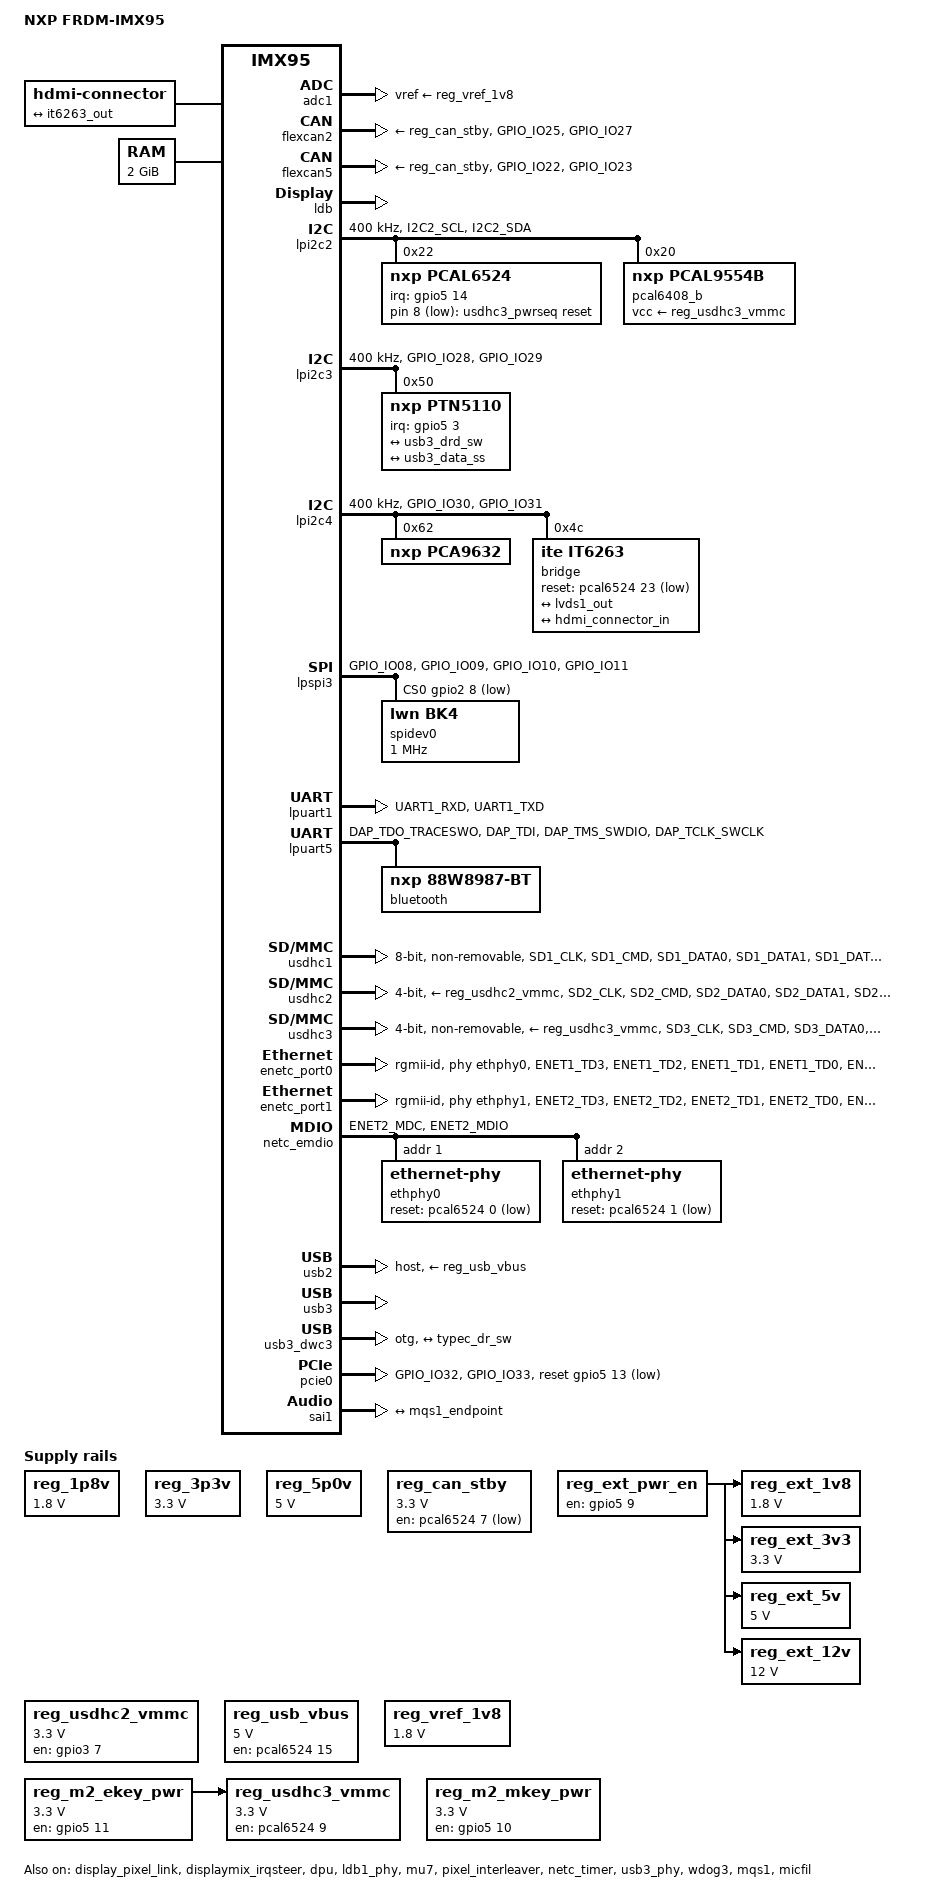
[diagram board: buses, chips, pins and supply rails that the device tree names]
// SPDX-License-Identifier: (GPL-2.0+ OR MIT)
/*
 * Copyright 2025 NXP
 */

/dts-v1/;

#include <dt-bindings/leds/common.h>
#include <dt-bindings/phy/phy-imx8-pcie.h>
#include <dt-bindings/pwm/pwm.h>
#include <dt-bindings/usb/pd.h>
#include "imx95.dtsi"

#define FALLING_EDGE		BIT(0)
#define RISING_EDGE		BIT(1)

#define BRD_SM_CTRL_SD3_WAKE		0x8000	/*!< PCAL6408A-0 */
#define BRD_SM_CTRL_PCIE1_WAKE		0x8001	/*!< PCAL6408A-4 */
#define BRD_SM_CTRL_BT_WAKE		0x8002	/*!< PCAL6408A-5 */
#define BRD_SM_CTRL_PCIE2_WAKE		0x8003	/*!< PCAL6408A-6 */
#define BRD_SM_CTRL_BUTTON		0x8004	/*!< PCAL6408A-7 */

/ {
	model = "NXP FRDM-IMX95";
	compatible = "fsl,frdm-imx95", "fsl,imx95";

	aliases {
		ethernet0 = &enetc_port0;
		ethernet1 = &enetc_port1;
	};

	chosen {
		stdout-path = &lpuart1;
		#address-cells = <2>;
		#size-cells = <2>;
	};

	hdmi-connector {
		compatible = "hdmi-connector";
		label = "hdmi";
		type = "a";

		port {
			hdmi_connector_in: endpoint {
				remote-endpoint = <&it6263_out>;
			};
		};
	};

	memory@80000000 {
		device_type = "memory";
		reg = <0x0 0x80000000 0 0x80000000>;
	};

	reserved-memory {
		#address-cells = <2>;
		#size-cells = <2>;
		ranges;

		linux_cma: linux,cma {
			compatible = "shared-dma-pool";
			reusable;
			size = <0 0x3c000000>;
			alloc-ranges = <0 0x80000000 0 0x7F000000>;
			linux,cma-default;
		};

		vpu_boot: vpu_boot@a0000000 {
			reg = <0 0xa0000000 0 0x100000>;
			no-map;
		};

		vdev0vring0: vdev0vring0@88000000 {
			reg = <0 0x88000000 0 0x8000>;
			no-map;
		};

		vdev0vring1: vdev0vring1@88008000 {
			reg = <0 0x88008000 0 0x8000>;
			no-map;
		};

		vdev1vring0: vdev1vring0@88010000 {
			reg = <0 0x88010000 0 0x8000>;
			no-map;
		};

		vdev1vring1: vdev1vring1@88018000 {
			reg = <0 0x88018000 0 0x8000>;
			no-map;
		};

		rsc_table: rsc-table@88220000 {
			reg = <0 0x88220000 0 0x1000>;
			no-map;
		};

		vdevbuffer: vdevbuffer@88020000 {
			compatible = "shared-dma-pool";
			reg = <0 0x88020000 0 0x100000>;
			no-map;
		};
	};

	reg_1p8v: regulator-1p8v {
		compatible = "regulator-fixed";
		regulator-max-microvolt = <1800000>;
		regulator-min-microvolt = <1800000>;
		regulator-name = "+V1.8_SW";
	};

	reg_3p3v: regulator-3p3v {
		compatible = "regulator-fixed";
		regulator-max-microvolt = <3300000>;
		regulator-min-microvolt = <3300000>;
		regulator-name = "+V3.3_SW";
	};

	reg_5p0v: regulator-5p0v {
		compatible = "regulator-fixed";
		regulator-max-microvolt = <5000000>;
		regulator-min-microvolt = <5000000>;
		regulator-name = "+V5.0_SW";
	};

	reg_can_stby: regulator-can-stby {
		compatible = "regulator-fixed";
		regulator-name = "can-stby";
		regulator-min-microvolt = <3300000>;
		regulator-max-microvolt = <3300000>;
		gpio = <&pcal6524 7 GPIO_ACTIVE_LOW>;
		enable-active-low;
	};

	reg_ext_pwr_en: regulator-1p8v {
		compatible = "regulator-fixed";
		pinctrl-names = "default";
		pinctrl-0 = <&pinctrl_reg_ext_pwr>;
		regulator-name = "ext_pwr_en";
		gpio = <&gpio5 9 GPIO_ACTIVE_HIGH>;
		enable-active-high;
		regulator-always-on;
	};

	reg_ext_1v8: regulator-ext-1v8 {
		compatible = "regulator-fixed";
		regulator-max-microvolt = <1800000>;
		regulator-min-microvolt = <1800000>;
		regulator-name = "VCCEXT_1V8";
		vin-supply = <&reg_ext_pwr_en>;
	};

	reg_ext_3v3: regulator-ext-3v3 {
		compatible = "regulator-fixed";
		regulator-max-microvolt = <3300000>;
		regulator-min-microvolt = <3300000>;
		regulator-name = "VCCEXT_3V3";
		vin-supply = <&reg_ext_pwr_en>;
	};

	reg_ext_5v: regulator-ext-5v {
		compatible = "regulator-fixed";
		regulator-max-microvolt = <5000000>;
		regulator-min-microvolt = <5000000>;
		regulator-name = "VCCEXT_5V";
		vin-supply = <&reg_ext_pwr_en>;
	};

	reg_ext_12v: regulator-ext-12v {
		compatible = "regulator-fixed";
		regulator-name = "VCCEXT_12V";
		regulator-min-microvolt = <12000000>;
		regulator-max-microvolt = <12000000>;
		vin-supply = <&reg_ext_pwr_en>;
	};

	reg_usdhc2_vmmc: regulator-usdhc2 {
		compatible = "regulator-fixed";
		pinctrl-names = "default";
		pinctrl-0 = <&pinctrl_reg_usdhc2_vmmc>;
		regulator-name = "VDD_SD2_3V3";
		regulator-min-microvolt = <3300000>;
		regulator-max-microvolt = <3300000>;
		gpio = <&gpio3 7 GPIO_ACTIVE_HIGH>;
		off-on-delay-us = <12000>;
		enable-active-high;
	};

	reg_usb_vbus: regulator-vbus {
		compatible = "regulator-fixed";
		regulator-name = "USB_VBUS";
		regulator-min-microvolt = <5000000>;
		regulator-max-microvolt = <5000000>;
		gpio = <&pcal6524 15 GPIO_ACTIVE_HIGH>;
		enable-active-high;
	};

	usdhc3_pwrseq: usdhc3_pwrseq {
		compatible = "mmc-pwrseq-simple";
		reset-gpios = <&pcal6524 8 GPIO_ACTIVE_LOW>;
	};

	reg_usdhc3_vmmc: regulator-usdhc3 {
		compatible = "regulator-fixed";
		regulator-name = "WLAN_EN";
		regulator-min-microvolt = <3300000>;
		regulator-max-microvolt = <3300000>;
		vin-supply = <&reg_m2_ekey_pwr>;
		gpio = <&pcal6524 9 GPIO_ACTIVE_HIGH>;
		/*
		 * IW612 wifi chip needs more delay than other wifi chips to complete
		 * the host interface initialization after power up, otherwise the
		 * internal state of IW612 may be unstable, resulting in the failure of
		 * the SDIO3.0 switch voltage.
		 */
		startup-delay-us = <20000>;
		enable-active-high;
	};

	reg_vref_1v8: regulator-adc-vref {
		compatible = "regulator-fixed";
		regulator-name = "vref_1v8";
		regulator-min-microvolt = <1800000>;
		regulator-max-microvolt = <1800000>;
	};

	reg_m2_ekey_pwr: regulator-m2-pwr {
		compatible = "regulator-fixed";
		pinctrl-names = "default";
		pinctrl-0 = <&pinctrl_ekey_pwr>;
		regulator-name = "M.2-power-ekey";
		regulator-min-microvolt = <3300000>;
		regulator-max-microvolt = <3300000>;
		gpio = <&gpio5 11 GPIO_ACTIVE_HIGH>;
		enable-active-high;
	};

	reg_m2_mkey_pwr: regulator-m2-mkey-pwr {
		compatible = "regulator-fixed";
		pinctrl-names = "default";
		pinctrl-0 = <&pinctrl_mkey_pwr>;
		regulator-name = "M.2-power-mkey";
		regulator-min-microvolt = <3300000>;
		regulator-max-microvolt = <3300000>;
		gpio = <&gpio5 10 GPIO_ACTIVE_HIGH>;
		enable-active-high;
		regulator-always-on;
	};

	cm7: imx95-cm7 {
		compatible = "fsl,imx95-cm7";
		mbox-names = "tx", "rx", "rxdb";
		mboxes = <&mu7 0 1
			  &mu7 1 1
			  &mu7 3 1>;
		memory-region = <&vdevbuffer>, <&vdev0vring0>, <&vdev0vring1>,
				<&vdev1vring0>, <&vdev1vring1>, <&rsc_table>;
		/* cpuid and lmmid must align with SM firmware */
		fsl,cpu-id = <1>;
		fsl,lmm-id = <1>;
		fsl,startup-delay-ms = <50>;
		status = "okay";
	};

	sound-micfil {
		compatible = "fsl,imx-audio-card";
		model = "micfil-audio";
		pri-dai-link {
			link-name = "micfil hifi";
			format = "i2s";
			cpu {
				sound-dai = <&micfil>;
			};
		};
	};

	sound-mqs {
		compatible = "audio-graph-card2";
		links = <&sai1_port1>;
		label = "mqs-audio";
	};
};

&adc1 {
	vref-supply = <&reg_vref_1v8>;
	status = "okay";
};

&display_pixel_link {
	status = "okay";
};

&displaymix_irqsteer {
	status = "okay";
};

&dpu {
	status = "okay";
};

&flexcan2 {
	pinctrl-names = "default";
	pinctrl-0 = <&pinctrl_flexcan2>;
	xceiver-supply = <&reg_can_stby>;
	status = "okay";
};

&flexcan5 {
	pinctrl-names = "default";
	pinctrl-0 = <&pinctrl_flexcan5>;
	xceiver-supply = <&reg_can_stby>;
	status = "okay";
};

&ldb {
	assigned-clocks = <&scmi_clk IMX95_CLK_LDBPLL_VCO>,
			  <&scmi_clk IMX95_CLK_LDBPLL>;
	assigned-clock-rates = <4158000000>, <1039500000>;
	status = "okay";

	channel@1 {
		status = "okay";

		port@1 {
			lvds1_out: endpoint {
				remote-endpoint = <&it6263_in>;
			};
		};
	};
};

&ldb1_phy {
	status = "okay";
};

&lpi2c2 {
	clock-frequency = <400000>;
	pinctrl-names = "default";
	pinctrl-0 = <&pinctrl_lpi2c2>;
	status = "okay";

	pcal6524: gpio@22 {
		compatible = "nxp,pcal6524";
		pinctrl-names = "default";
		pinctrl-0 = <&pinctrl_pcal6524>;
		reg = <0x22>;
		gpio-controller;
		#gpio-cells = <2>;
		interrupt-controller;
		#interrupt-cells = <2>;
		interrupt-parent = <&gpio5>;
		interrupts = <14 IRQ_TYPE_LEVEL_LOW>;
		gpio-line-names = "ENET1 PHY reset",
				  "ENET2 PHY reset",
				  "SPI3/GPIO select",
				  "UART3/GPIO select",
				  "CAN2&5/GPIO select",
				  "PWM/GPIO select",
				  "Watch dog enable",
				  "CAN1&2&5 silent or normal select",
				  "Wifi reset",
				  "Wifi power down and IO EXP reset",
				  "Bluetooth reset",
				  "Mkey Power Enable",
				  "",
				  "",
				  "",
				  "USB Power Enable",
				  "MIPI-DSI panel touch reset",
				  "MIPI-DSI and CSI reset",
				  "MIPI-DSI panel backlight enable (Reserved)",
				  "MIPI-CSI camera reset",
				  "LVDS panel touch reset",
				  "LVDS panel backlight enable",
				  "LVDS panel backlight power enable",
				  "LVDS to HDMI converter IT6263 reset";

		/* When low, select lpspi; When high, select gpio. */
		lpspi-gpio-sel-hog {
			gpio-hog;
			gpios = <2 GPIO_ACTIVE_HIGH>;
			output-low;
		};

		/* When low, select lpuart3; When high, select gpio. */
		lpuart-gpio-sel-hog {
			gpio-hog;
			gpios = <3 GPIO_ACTIVE_HIGH>;
			output-low;
		};

		/* When low, select CAN; When high, select gpio. */
		can-gpio-sel-hog {
			gpio-hog;
			gpios = <4 GPIO_ACTIVE_HIGH>;
			output-low;
		};

		/* When low, select pwm; When high, select gpio. */
		pwm-gpio-sel-hog {
			gpio-hog;
			gpios = <5 GPIO_ACTIVE_HIGH>;
			output-low;
		};
	};

	pcal6408_b: gpio@20 {
		compatible = "nxp,pcal9554b";
		reg = <0x20>;
		gpio-controller;
		#gpio-cells = <2>;
		vcc-supply = <&reg_usdhc3_vmmc>;
		status = "okay";
	};
};

&lpi2c3 {
	clock-frequency = <400000>;
	pinctrl-names = "default";
	pinctrl-0 = <&pinctrl_lpi2c3>;
	status = "okay";

	ptn5110: tcpc@50 {
		compatible = "nxp,ptn5110";
		reg = <0x50>;
		interrupt-parent = <&gpio5>;
		interrupts = <3 IRQ_TYPE_LEVEL_LOW>;
		pinctrl-names = "default";
		pinctrl-0 = <&pinctrl_ptn5110>;

		port {
			typec_dr_sw: endpoint {
				remote-endpoint = <&usb3_drd_sw>;
			};
		};

		typec_con: connector {
			compatible = "usb-c-connector";
			label = "USB-C";
			power-role = "dual";
			data-role = "dual";
			try-power-role = "sink";
			source-pdos = <PDO_FIXED(5000, 3000, PDO_FIXED_USB_COMM)>;
			sink-pdos = <PDO_FIXED(5000, 3000, PDO_FIXED_USB_COMM)
				     PDO_VAR(5000, 20000, 3000)>;
			op-sink-microwatt = <15000000>;
			self-powered;

			ports {
				#address-cells = <1>;
				#size-cells = <0>;

				port@1 {
					reg = <1>;
					typec_con_ss: endpoint {
						remote-endpoint = <&usb3_data_ss>;
					};
				};
			};
		};
	};
};

&lpi2c4 {
	clock-frequency = <400000>;
	pinctrl-names = "default";
	pinctrl-0 = <&pinctrl_lpi2c4>;
	status = "okay";

	pca9632: pca9632@62 {
		compatible = "nxp,pca9632";
		#address-cells = <1>;
		#size-cells = <0>;
		reg = <0x62>;
		nxp,inverted-out;

		led_backlight0: led@0 {
			reg = <0>;
			function = LED_FUNCTION_BACKLIGHT;
			color = <LED_COLOR_ID_WHITE>;
			function-enumerator = <0>;
		};

		led_backlight1: led@1 {
			reg = <1>;
			function = LED_FUNCTION_BACKLIGHT;
			color = <LED_COLOR_ID_WHITE>;
			function-enumerator = <1>;
		};
	};

	bridge@4c {
		compatible = "ite,it6263";
		reg = <0x4c>;
		reset-gpios = <&pcal6524 23 GPIO_ACTIVE_LOW>;

		ports {
			#address-cells = <1>;
			#size-cells = <0>;

			port@0 {
				reg = <0>;

				it6263_in: endpoint {
					remote-endpoint = <&lvds1_out>;
				};
			};

			port@1 {
				reg = <1>;

				it6263_out: endpoint {
					remote-endpoint = <&hdmi_connector_in>;
				};
			};
		};
	};
};

&lpspi3 {
	fsl,spi-num-chipselects = <1>;
	pinctrl-names = "default";
	pinctrl-0 = <&pinctrl_lpspi3>;
	cs-gpios = <&gpio2 8 GPIO_ACTIVE_LOW>;
	status = "okay";

	spidev0: spi@0 {
		reg = <0>;
		compatible = "lwn,bk4";
		spi-max-frequency = <1000000>;
	};
};

&lpuart1 {
	/* console */
	pinctrl-names = "default";
	pinctrl-0 = <&pinctrl_uart1>;
	status = "okay";
};

&lpuart5 {
	/* BT */
	pinctrl-names = "default";
	pinctrl-0 = <&pinctrl_uart5>;
	status = "okay";

	bluetooth {
		compatible = "nxp,88w8987-bt";
	};
};

&mu7 {
	status = "okay";
};

&pixel_interleaver {
	status = "okay";

	channel@1 {
		status = "okay";
	};
};

&usdhc1 {
	pinctrl-names = "default", "state_100mhz", "state_200mhz", "sleep";
	pinctrl-0 = <&pinctrl_usdhc1>;
	pinctrl-1 = <&pinctrl_usdhc1_100mhz>;
	pinctrl-2 = <&pinctrl_usdhc1_200mhz>;
	pinctrl-3 = <&pinctrl_usdhc1>;
	bus-width = <8>;
	fsl,tuning-step = <1>;
	non-removable;
	no-sdio;
	no-sd;
	status = "okay";
};

&usdhc2 {
	pinctrl-names = "default", "state_100mhz", "state_200mhz", "sleep";
	pinctrl-0 = <&pinctrl_usdhc2>, <&pinctrl_usdhc2_gpio>;
	pinctrl-1 = <&pinctrl_usdhc2_100mhz>, <&pinctrl_usdhc2_gpio>;
	pinctrl-2 = <&pinctrl_usdhc2_200mhz>, <&pinctrl_usdhc2_gpio>;
	pinctrl-3 = <&pinctrl_usdhc2>, <&pinctrl_usdhc2_gpio>;
	cd-gpios = <&gpio3 00 GPIO_ACTIVE_LOW>;
	fsl,cd-gpio-wakeup-disable;
	vmmc-supply = <&reg_usdhc2_vmmc>;
	bus-width = <4>;
	fsl,tuning-step = <1>;
	status = "okay";
};

&usdhc3 {
	pinctrl-names = "default", "state_100mhz", "state_200mhz", "sleep";
	pinctrl-0 = <&pinctrl_usdhc3>;
	pinctrl-1 = <&pinctrl_usdhc3_100mhz>;
	pinctrl-2 = <&pinctrl_usdhc3_200mhz>;
	pinctrl-3 = <&pinctrl_usdhc3>;
	mmc-pwrseq = <&usdhc3_pwrseq>;
	vmmc-supply = <&reg_usdhc3_vmmc>;
	bus-width = <4>;
	keep-power-in-suspend;
	non-removable;
	wakeup-source;
	status = "okay";
};

/* The default setting in i.mx95.dtsi are for i.MX95 19x19,
 * so change them for i.MX95 15x15 here.
 */
&pcie_4ca00000 {
	msi-map = <0x0 &its 0x60 0x1>,	//ENETC0 PF
		  <0x10 &its 0x61 0x1>, //ENETC0 VF0
		  <0x20 &its 0x62 0x1>, //ENETC0 VF1
		  <0x40 &its 0x63 0x1>, //ENETC1 PF
		  <0x50 &its 0x65 0x1>, //ENETC1 VF0
		  <0x60 &its 0x66 0x1>, //ENETC1 VF1
		  <0x80 &its 0x64 0x1>, //ENETC2 PF
		  <0xc0 &its 0x67 0x1>; //NETC Timer
	iommu-map = <0x0 &smmu 0x20 0x1>,
		    <0x10 &smmu 0x21 0x1>,
		    <0x20 &smmu 0x22 0x1>,
		    <0x40 &smmu 0x23 0x1>,
		    <0x50 &smmu 0x25 0x1>,
		    <0x60 &smmu 0x26 0x1>,
		    <0x80 &smmu 0x24 0x1>,
		    <0xc0 &smmu 0x27 0x1>;
};

&enetc_port0 {
	pinctrl-names = "default";
	pinctrl-0 = <&pinctrl_enetc0>;
	phy-handle = <&ethphy0>;
	phy-mode = "rgmii-id";
	status = "okay";
};

&enetc_port1 {
	pinctrl-names = "default";
	pinctrl-0 = <&pinctrl_enetc1>;
	phy-handle = <&ethphy1>;
	phy-mode = "rgmii-id";
	status = "okay";
};

&netc_timer {
	status = "okay";
};

&netc_emdio {
	pinctrl-names = "default";
	pinctrl-0 = <&pinctrl_emdio>;
	status = "okay";

	ethphy0: ethernet-phy@1 {
		reg = <1>;
		reset-gpios = <&pcal6524 0 GPIO_ACTIVE_LOW>;
		reset-assert-us = <10000>;
		reset-deassert-us = <80000>;
	};

	ethphy1: ethernet-phy@2 {
		reg = <2>;
		reset-gpios = <&pcal6524 1 GPIO_ACTIVE_LOW>;
		reset-assert-us = <10000>;
		reset-deassert-us = <80000>;
	};
};

&usb2 {
	dr_mode = "host";
	vbus-supply = <&reg_usb_vbus>;
	disable-over-current;
	status = "okay";
};

&thermal_zones {
	pf09 {
		polling-delay-passive = <250>;
		polling-delay = <2000>;
		thermal-sensors = <&scmi_sensor 2>;
		trips {
			pf09_alert: trip0 {
				temperature = <140000>;
				hysteresis = <2000>;
				type = "passive";
			};

			pf09_crit: trip1 {
				temperature = <155000>;
				hysteresis = <2000>;
				type = "critical";
			};
		};
	};

	pf53_arm {
		polling-delay-passive = <250>;
		polling-delay = <2000>;
		thermal-sensors = <&scmi_sensor 4>;
		trips {
			pf5301_alert: trip0 {
				temperature = <140000>;
				hysteresis = <2000>;
				type = "passive";
			};

			pf5301_crit: trip1 {
				temperature = <155000>;
				hysteresis = <2000>;
				type = "critical";
			};
		};

		cooling-maps {
			map0 {
				trip = <&pf5301_alert>;
				cooling-device =
					<&A55_0 THERMAL_NO_LIMIT THERMAL_NO_LIMIT>,
					<&A55_1 THERMAL_NO_LIMIT THERMAL_NO_LIMIT>,
					<&A55_2 THERMAL_NO_LIMIT THERMAL_NO_LIMIT>,
					<&A55_3 THERMAL_NO_LIMIT THERMAL_NO_LIMIT>,
					<&A55_4 THERMAL_NO_LIMIT THERMAL_NO_LIMIT>,
					<&A55_5 THERMAL_NO_LIMIT THERMAL_NO_LIMIT>;
			};
		};
	};

	pf53_soc {
		polling-delay-passive = <250>;
		polling-delay = <2000>;
		thermal-sensors = <&scmi_sensor 3>;
		trips {
			pf5302_alert: trip0 {
				temperature = <140000>;
				hysteresis = <2000>;
				type = "passive";
			};

			pf5302_crit: trip1 {
				temperature = <155000>;
				hysteresis = <2000>;
				type = "critical";
			};
		};
	};
};

&usb3 {
	status = "okay";
};

&usb3_phy {
	status = "okay";

	port {
		usb3_data_ss: endpoint {
			remote-endpoint = <&typec_con_ss>;
		};
	};
};

&usb3_dwc3 {
	dr_mode = "otg";
	hnp-disable;
	srp-disable;
	adp-disable;
	usb-role-switch;
	role-switch-default-mode = "none";
	snps,dis-u1-entry-quirk;
	snps,dis-u2-entry-quirk;
	status = "okay";

	port {
		usb3_drd_sw: endpoint {
			remote-endpoint = <&typec_dr_sw>;
		};
	};
};

&scmi_misc {
	nxp,ctrl-ids = <BRD_SM_CTRL_SD3_WAKE		1
			BRD_SM_CTRL_PCIE1_WAKE		1
			BRD_SM_CTRL_BT_WAKE		1
			BRD_SM_CTRL_PCIE2_WAKE		1
			BRD_SM_CTRL_BUTTON		1>;
};

&scmi_iomuxc {
	pinctrl_flexcan2: flexcan2grp {
		fsl,pins = <
			IMX95_PAD_GPIO_IO25__CAN2_TX			0x39e
			IMX95_PAD_GPIO_IO27__CAN2_RX			0x39e
		>;
	};

	pinctrl_flexcan5: flexcan5grp {
		fsl,pins = <
			IMX95_PAD_GPIO_IO22__CAN5_TX			0x39e
			IMX95_PAD_GPIO_IO23__CAN5_RX			0x39e
		>;
	};

	pinctrl_lpi2c1: lpi2c1grp {
		fsl,pins = <
			IMX95_PAD_I2C1_SCL__AONMIX_TOP_LPI2C1_SCL	0x40000b9e
			IMX95_PAD_I2C1_SDA__AONMIX_TOP_LPI2C1_SDA	0x40000b9e
		>;
	};

	pinctrl_lpi2c2: lpi2c2grp {
		fsl,pins = <
			IMX95_PAD_I2C2_SCL__AONMIX_TOP_LPI2C2_SCL	0x40000b9e
			IMX95_PAD_I2C2_SDA__AONMIX_TOP_LPI2C2_SDA	0x40000b9e
		>;
	};

	pinctrl_lpi2c3: lpi2c3grp {
		fsl,pins = <
			IMX95_PAD_GPIO_IO28__LPI2C3_SDA			0x40000b9e
			IMX95_PAD_GPIO_IO29__LPI2C3_SCL			0x40000b9e
		>;
	};

	pinctrl_lpi2c4: lpi2c4grp {
		fsl,pins = <
			IMX95_PAD_GPIO_IO30__LPI2C4_SDA			0x40000b9e
			IMX95_PAD_GPIO_IO31__LPI2C4_SCL			0x40000b9e
		>;
	};

	pinctrl_pcal6524: pcal6524grp {
		fsl,pins = <
			IMX95_PAD_GPIO_IO34__GPIO5_IO_BIT14		0x31e
		>;
	};

	pinctrl_uart1: uart1grp {
		fsl,pins = <
			IMX95_PAD_UART1_RXD__AONMIX_TOP_LPUART1_RX      0x31e
			IMX95_PAD_UART1_TXD__AONMIX_TOP_LPUART1_TX      0x31e
		>;
	};

	pinctrl_uart5: uart5grp {
		fsl,pins = <
			IMX95_PAD_DAP_TDO_TRACESWO__LPUART5_TX			0x31e
			IMX95_PAD_DAP_TDI__LPUART5_RX				0x31e
			IMX95_PAD_DAP_TMS_SWDIO__LPUART5_RTS_B			0x31e
			IMX95_PAD_DAP_TCLK_SWCLK__LPUART5_CTS_B			0x31e
		>;
	};

	pinctrl_enetc0: enetc0grp {
		fsl,pins = <
			IMX95_PAD_ENET1_TD3__NETCMIX_TOP_ETH0_RGMII_TD3		0x50e
			IMX95_PAD_ENET1_TD2__NETCMIX_TOP_ETH0_RGMII_TD2		0x50e
			IMX95_PAD_ENET1_TD1__NETCMIX_TOP_ETH0_RGMII_TD1		0x50e
			IMX95_PAD_ENET1_TD0__NETCMIX_TOP_ETH0_RGMII_TD0		0x50e
			IMX95_PAD_ENET1_TX_CTL__NETCMIX_TOP_ETH0_RGMII_TX_CTL	0x57e
			IMX95_PAD_ENET1_TXC__NETCMIX_TOP_ETH0_RGMII_TX_CLK	0x58e
			IMX95_PAD_ENET1_RX_CTL__NETCMIX_TOP_ETH0_RGMII_RX_CTL	0x57e
			IMX95_PAD_ENET1_RXC__NETCMIX_TOP_ETH0_RGMII_RX_CLK	0x58e
			IMX95_PAD_ENET1_RD0__NETCMIX_TOP_ETH0_RGMII_RD0		0x57e
			IMX95_PAD_ENET1_RD1__NETCMIX_TOP_ETH0_RGMII_RD1		0x57e
			IMX95_PAD_ENET1_RD2__NETCMIX_TOP_ETH0_RGMII_RD2		0x57e
			IMX95_PAD_ENET1_RD3__NETCMIX_TOP_ETH0_RGMII_RD3		0x57e
		>;
	};

	pinctrl_enetc1: enetc1grp {
		fsl,pins = <
			IMX95_PAD_ENET2_TD3__NETCMIX_TOP_ETH1_RGMII_TD3		0x50e
			IMX95_PAD_ENET2_TD2__NETCMIX_TOP_ETH1_RGMII_TD2		0x50e
			IMX95_PAD_ENET2_TD1__NETCMIX_TOP_ETH1_RGMII_TD1		0x50e
			IMX95_PAD_ENET2_TD0__NETCMIX_TOP_ETH1_RGMII_TD0		0x50e
			IMX95_PAD_ENET2_TX_CTL__NETCMIX_TOP_ETH1_RGMII_TX_CTL	0x57e
			IMX95_PAD_ENET2_TXC__NETCMIX_TOP_ETH1_RGMII_TX_CLK	0x58e
			IMX95_PAD_ENET2_RX_CTL__NETCMIX_TOP_ETH1_RGMII_RX_CTL	0x57e
			IMX95_PAD_ENET2_RXC__NETCMIX_TOP_ETH1_RGMII_RX_CLK	0x58e
			IMX95_PAD_ENET2_RD0__NETCMIX_TOP_ETH1_RGMII_RD0		0x57e
			IMX95_PAD_ENET2_RD1__NETCMIX_TOP_ETH1_RGMII_RD1		0x57e
			IMX95_PAD_ENET2_RD2__NETCMIX_TOP_ETH1_RGMII_RD2		0x57e
			IMX95_PAD_ENET2_RD3__NETCMIX_TOP_ETH1_RGMII_RD3		0x57e
		>;
	};

	pinctrl_emdio: emdiogrp {
		fsl,pins = <
			IMX95_PAD_ENET2_MDC__NETCMIX_TOP_NETC_MDC		0x50e
			IMX95_PAD_ENET2_MDIO__NETCMIX_TOP_NETC_MDIO		0x90e
		>;
	};

	pinctrl_mipi_dsi_csi: mipidsigrp {
		fsl,pins = <
			IMX95_PAD_XSPI1_DATA6__GPIO5_IO_BIT6			0x31e
		>;
	};

	pinctrl_ekey_pwr: ekeypwrgrp {
		fsl,pins = <
			IMX95_PAD_XSPI1_SS1_B__GPIO5_IO_BIT11			0x31e
		>;
	};

	pinctrl_mkey_pwr: mkeypwrgrp {
		fsl,pins = <
			IMX95_PAD_XSPI1_SS0_B__GPIO5_IO_BIT10			0x31e
		>;
	};

	pinctrl_mqs1: mqs1grp {
		fsl,pins = <
			IMX95_PAD_SAI1_TXFS__AONMIX_TOP_MQS1_LEFT		0x31e
			IMX95_PAD_SAI1_RXD0__AONMIX_TOP_MQS1_RIGHT		0x31e
		>;
	};

	pinctrl_pcie0: pcie0grp {
		fsl,pins = <
			IMX95_PAD_GPIO_IO32__HSIOMIX_TOP_PCIE1_CLKREQ_B		0x40000b1e
			IMX95_PAD_GPIO_IO33__GPIO5_IO_BIT13			0x31e
		>;
	};

	pinctrl_pdm: pdmgrp {
		fsl,pins = <
			IMX95_PAD_PDM_CLK__AONMIX_TOP_PDM_CLK				0x31e
			IMX95_PAD_PDM_BIT_STREAM0__AONMIX_TOP_PDM_BIT_STREAM_BIT0	0x31e
		>;
	};

	pinctrl_ptn5110: ptn5110grp {
		fsl,pins = <
			IMX95_PAD_XSPI1_DATA3__GPIO5_IO_BIT3			0x31e
		>;
	};

	pinctrl_usdhc1: usdhc1grp {
		fsl,pins = <
			IMX95_PAD_SD1_CLK__USDHC1_CLK				0x158e
			IMX95_PAD_SD1_CMD__USDHC1_CMD				0x138e
			IMX95_PAD_SD1_DATA0__USDHC1_DATA0			0x138e
			IMX95_PAD_SD1_DATA1__USDHC1_DATA1			0x138e
			IMX95_PAD_SD1_DATA2__USDHC1_DATA2			0x138e
			IMX95_PAD_SD1_DATA3__USDHC1_DATA3			0x138e
			IMX95_PAD_SD1_DATA4__USDHC1_DATA4			0x138e
			IMX95_PAD_SD1_DATA5__USDHC1_DATA5			0x138e
			IMX95_PAD_SD1_DATA6__USDHC1_DATA6			0x138e
			IMX95_PAD_SD1_DATA7__USDHC1_DATA7			0x138e
			IMX95_PAD_SD1_STROBE__USDHC1_STROBE			0x158e
		>;
	};

	pinctrl_usdhc1_100mhz: usdhc1-100mhzgrp {
		fsl,pins = <
			IMX95_PAD_SD1_CLK__USDHC1_CLK				0x158e
			IMX95_PAD_SD1_CMD__USDHC1_CMD				0x138e
			IMX95_PAD_SD1_DATA0__USDHC1_DATA0			0x138e
			IMX95_PAD_SD1_DATA1__USDHC1_DATA1			0x138e
			IMX95_PAD_SD1_DATA2__USDHC1_DATA2			0x138e
			IMX95_PAD_SD1_DATA3__USDHC1_DATA3			0x138e
			IMX95_PAD_SD1_DATA4__USDHC1_DATA4			0x138e
			IMX95_PAD_SD1_DATA5__USDHC1_DATA5			0x138e
			IMX95_PAD_SD1_DATA6__USDHC1_DATA6			0x138e
			IMX95_PAD_SD1_DATA7__USDHC1_DATA7			0x138e
			IMX95_PAD_SD1_STROBE__USDHC1_STROBE			0x158e
		>;
	};

	pinctrl_usdhc1_200mhz: usdhc1-200mhzgrp {
		fsl,pins = <
			IMX95_PAD_SD1_CLK__USDHC1_CLK				0x15fe
			IMX95_PAD_SD1_CMD__USDHC1_CMD				0x13fe
			IMX95_PAD_SD1_DATA0__USDHC1_DATA0			0x13fe
			IMX95_PAD_SD1_DATA1__USDHC1_DATA1			0x13fe
			IMX95_PAD_SD1_DATA2__USDHC1_DATA2			0x13fe
			IMX95_PAD_SD1_DATA3__USDHC1_DATA3			0x13fe
			IMX95_PAD_SD1_DATA4__USDHC1_DATA4			0x13fe
			IMX95_PAD_SD1_DATA5__USDHC1_DATA5			0x13fe
			IMX95_PAD_SD1_DATA6__USDHC1_DATA6			0x13fe
			IMX95_PAD_SD1_DATA7__USDHC1_DATA7			0x13fe
			IMX95_PAD_SD1_STROBE__USDHC1_STROBE			0x15fe
		>;
	};

	pinctrl_reg_usdhc2_vmmc: regusdhc2vmmcgrp {
		fsl,pins = <
			IMX95_PAD_SD2_RESET_B__GPIO3_IO_BIT7			0x31e
		>;
	};

	pinctrl_reg_ext_pwr: regextpwrengrp {
		fsl,pins = <
			IMX95_PAD_XSPI1_SCLK__GPIO5_IO_BIT9			0x31e
		>;
	};

	pinctrl_lpspi3: lpspi3grp {
		fsl,pins = <
			IMX95_PAD_GPIO_IO08__GPIO2_IO_BIT8			0x3fe
			IMX95_PAD_GPIO_IO09__LPSPI3_SIN				0x3fe
			IMX95_PAD_GPIO_IO10__LPSPI3_SOUT			0x3fe
			IMX95_PAD_GPIO_IO11__LPSPI3_SCK				0x3fe
		>;
	};

	pinctrl_usdhc2_gpio: usdhc2gpiogrp {
		fsl,pins = <
			IMX95_PAD_SD2_CD_B__GPIO3_IO_BIT0			0x31e
		>;
	};

	pinctrl_usdhc2: usdhc2grp {
		fsl,pins = <
			IMX95_PAD_SD2_CLK__USDHC2_CLK				0x158e
			IMX95_PAD_SD2_CMD__USDHC2_CMD				0x138e
			IMX95_PAD_SD2_DATA0__USDHC2_DATA0			0x138e
			IMX95_PAD_SD2_DATA1__USDHC2_DATA1			0x138e
			IMX95_PAD_SD2_DATA2__USDHC2_DATA2			0x138e
			IMX95_PAD_SD2_DATA3__USDHC2_DATA3			0x138e
			IMX95_PAD_SD2_VSELECT__USDHC2_VSELECT			0x51e
		>;
	};

	pinctrl_usdhc2_100mhz: usdhc2-100mhzgrp {
		fsl,pins = <
			IMX95_PAD_SD2_CLK__USDHC2_CLK				0x158e
			IMX95_PAD_SD2_CMD__USDHC2_CMD				0x138e
			IMX95_PAD_SD2_DATA0__USDHC2_DATA0			0x138e
			IMX95_PAD_SD2_DATA1__USDHC2_DATA1			0x138e
			IMX95_PAD_SD2_DATA2__USDHC2_DATA2			0x138e
			IMX95_PAD_SD2_DATA3__USDHC2_DATA3			0x138e
			IMX95_PAD_SD2_VSELECT__USDHC2_VSELECT			0x51e
		>;
	};

	pinctrl_usdhc2_200mhz: usdhc2-200mhzgrp {
		fsl,pins = <
			IMX95_PAD_SD2_CLK__USDHC2_CLK				0x158e
			IMX95_PAD_SD2_CMD__USDHC2_CMD				0x138e
			IMX95_PAD_SD2_DATA0__USDHC2_DATA0			0x138e
			IMX95_PAD_SD2_DATA1__USDHC2_DATA1			0x138e
			IMX95_PAD_SD2_DATA2__USDHC2_DATA2			0x138e
			IMX95_PAD_SD2_DATA3__USDHC2_DATA3			0x138e
			IMX95_PAD_SD2_VSELECT__USDHC2_VSELECT			0x51e
		>;
	};

	pinctrl_usdhc3: usdhc3grp {
		fsl,pins = <
			IMX95_PAD_SD3_CLK__USDHC3_CLK				0x158e
			IMX95_PAD_SD3_CMD__USDHC3_CMD				0x138e
			IMX95_PAD_SD3_DATA0__USDHC3_DATA0			0x138e
			IMX95_PAD_SD3_DATA1__USDHC3_DATA1			0x138e
			IMX95_PAD_SD3_DATA2__USDHC3_DATA2			0x138e
			IMX95_PAD_SD3_DATA3__USDHC3_DATA3			0x138e
		>;
	};

	pinctrl_usdhc3_100mhz: usdhc3-100mhzgrp {
		fsl,pins = <
			IMX95_PAD_SD3_CLK__USDHC3_CLK				0x158e
			IMX95_PAD_SD3_CMD__USDHC3_CMD				0x138e
			IMX95_PAD_SD3_DATA0__USDHC3_DATA0			0x138e
			IMX95_PAD_SD3_DATA1__USDHC3_DATA1			0x138e
			IMX95_PAD_SD3_DATA2__USDHC3_DATA2			0x138e
			IMX95_PAD_SD3_DATA3__USDHC3_DATA3			0x138e
		>;
	};

	pinctrl_usdhc3_200mhz: usdhc3-200mhzgrp {
		fsl,pins = <
			IMX95_PAD_SD3_CLK__USDHC3_CLK				0x15fe
			IMX95_PAD_SD3_CMD__USDHC3_CMD				0x13fe
			IMX95_PAD_SD3_DATA0__USDHC3_DATA0			0x13fe
			IMX95_PAD_SD3_DATA1__USDHC3_DATA1			0x13fe
			IMX95_PAD_SD3_DATA2__USDHC3_DATA2			0x13fe
			IMX95_PAD_SD3_DATA3__USDHC3_DATA3			0x13fe
		>;
	};
};

&pcie0 {
	pinctrl-0 = <&pinctrl_pcie0>;
	pinctrl-names = "default";
	fsl,refclk-pad-mode = <IMX8_PCIE_REFCLK_PAD_OUTPUT>;
	reset-gpio = <&gpio5 13 GPIO_ACTIVE_LOW>;
	vpcie-supply = <&reg_m2_mkey_pwr>;
	status = "okay";
};

&vpuctrl {
	boot = <&vpu_boot>;
	sram = <&sram1>;
};

&wdog3 {
	status = "okay";
};

&sai1 {
	#sound-dai-cells = <0>;
	clocks = <&scmi_clk IMX95_CLK_BUSAON>, <&dummy>,
		 <&scmi_clk IMX95_CLK_SAI1>, <&dummy>,
		 <&dummy>, <&scmi_clk IMX95_CLK_AUDIOPLL1>,
		 <&scmi_clk IMX95_CLK_AUDIOPLL2>;
	clock-names = "bus", "mclk0", "mclk1", "mclk2", "mclk3", "pll8k", "pll11k";
	assigned-clocks = <&scmi_clk IMX95_CLK_AUDIOPLL1_VCO>,
			  <&scmi_clk IMX95_CLK_AUDIOPLL2_VCO>,
			  <&scmi_clk IMX95_CLK_AUDIOPLL1>,
			  <&scmi_clk IMX95_CLK_AUDIOPLL2>,
			  <&scmi_clk IMX95_CLK_SAI1>;
	assigned-clock-parents = <0>, <0>, <0>, <0>,
				 <&scmi_clk IMX95_CLK_AUDIOPLL1>;
	assigned-clock-rates = <3932160000>,
			       <3612672000>, <393216000>,
			       <361267200>, <24576000>;
	fsl,sai-mclk-direction-output;
	status = "okay";

	ports {
		#address-cells = <1>;
		#size-cells = <0>;

		sai1_port1: port@1 {
			reg = <1>;
			dai-format = "left_j";
			bitclock-master;
			frame-master;
			playback-only;
			mclk-fs = <512>;

			sai1_endpoint1: endpoint {
				remote-endpoint = <&mqs1_endpoint>;
			};
		};
	};
};

&mqs1 {
	pinctrl-names = "default";
	pinctrl-0 = <&pinctrl_mqs1>;
	clocks = <&scmi_clk IMX95_CLK_SAI1>;
	clock-names = "mclk";
	#sound-dai-cells = <0>;

	status = "okay";

	mqs1_port: port {
		dai-format = "left_j";
		playback-only;

		mqs1_endpoint: endpoint {
			remote-endpoint = <&sai1_endpoint1>;
		};
	};
};

&micfil {
	#sound-dai-cells = <0>;
	pinctrl-names = "default";
	pinctrl-0 = <&pinctrl_pdm>;
	assigned-clocks = <&scmi_clk IMX95_CLK_AUDIOPLL1_VCO>,
			  <&scmi_clk IMX95_CLK_AUDIOPLL2_VCO>,
			  <&scmi_clk IMX95_CLK_AUDIOPLL1>,
			  <&scmi_clk IMX95_CLK_AUDIOPLL2>,
			  <&scmi_clk IMX95_CLK_PDM>;
	assigned-clock-parents = <0>, <0>, <0>, <0>,
				 <&scmi_clk IMX95_CLK_AUDIOPLL1>;
	assigned-clock-rates = <3932160000>,
			       <3612672000>, <393216000>,
			       <361267200>, <49152000>;
	status = "okay";
};
